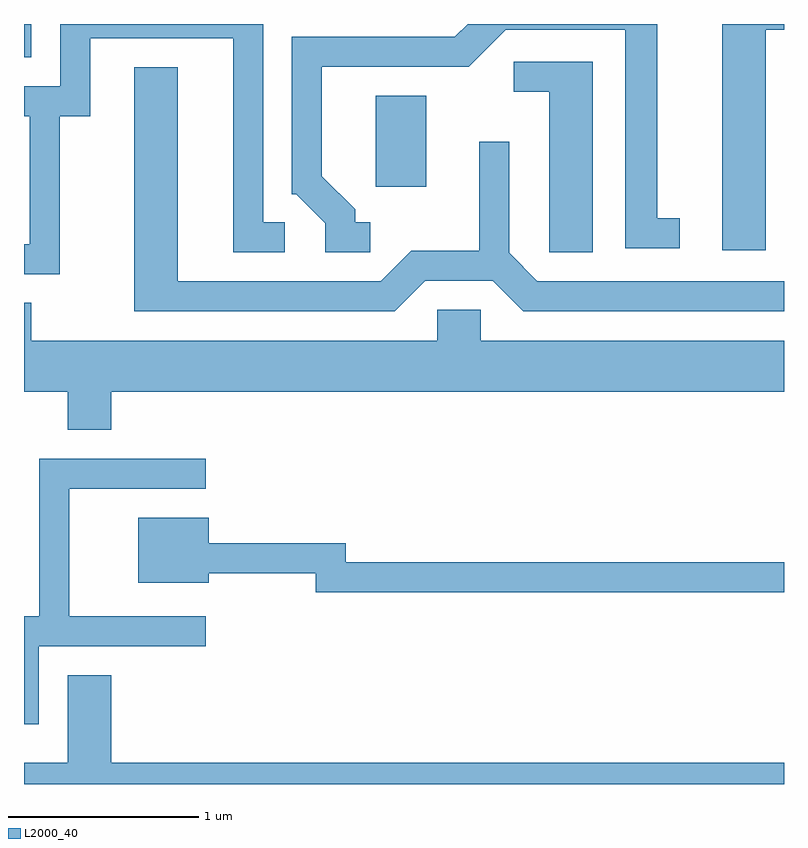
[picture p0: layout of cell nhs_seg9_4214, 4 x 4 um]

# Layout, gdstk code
import gdstk
lib = gdstk.Library(unit=1e-6, precision=1e-09)
def R(c, l, rs):  # rectangles x0, y0, x1, y1
    for r in rs: c.add(gdstk.rectangle(r[:2], r[2:], *l))
def P(c, l, *ps):  # polygons
    for p in ps: c.add(gdstk.Polygon(p, *l))
L2000_40 = (2000, 40)

nhs_seg9_4214 = lib.new_cell('nhs_seg9_4214')
R(nhs_seg9_4214, L2000_40, [(311.461,1979.576,311.729,1980.054), (309.611,1980.256,309.649,1980.432)])
P(nhs_seg9_4214, L2000_40, [(309.799,1979.946),(309.959,1979.946),(309.959,1980.356),(310.711,1980.356),(310.711,1979.231),(310.983,1979.231),(310.983,1979.389),(310.869,1979.389),(310.869,1980.432),(309.801,1980.432),(309.801,1980.104),(309.611,1980.104),(309.611,1979.946),(309.641,1979.946),(309.641,1979.274),(309.611,1979.274),(309.611,1979.116),(309.799,1979.116)],
  [(311.433,1979.389),(311.354,1979.389),(311.354,1979.457),(311.179,1979.632),(311.179,1980.206),(311.952,1980.206),(312.147,1980.401),(312.776,1980.401),(312.776,1979.251),(313.063,1979.251),(313.063,1979.409),(312.944,1979.409),(312.944,1980.432),(311.947,1980.432),(311.879,1980.364),(311.021,1980.364),(311.021,1979.536),(311.044,1979.536),(311.196,1979.384),(311.196,1979.231),(311.433,1979.231)],
  [(313.514,1980.401),(313.611,1980.401),(313.611,1980.432),(313.286,1980.432),(313.286,1979.241),(313.514,1979.241)],
  [(312.604,1980.234),(312.188,1980.234),(312.188,1980.076),(312.376,1980.076),(312.376,1979.231),(312.604,1979.231)],
  [(311.722,1979.081),(312.079,1979.081),(312.239,1978.921),(313.611,1978.921),(313.611,1979.079),(312.312,1979.079),(312.164,1979.227),(312.164,1979.813),(312.006,1979.813),(312.006,1979.239),(311.649,1979.239),(311.489,1979.079),(310.419,1979.079),(310.419,1980.204),(310.191,1980.204),(310.191,1978.921),(311.562,1978.921)],
  [(310.069,1978.496),(313.611,1978.496),(313.611,1978.764),(312.014,1978.764),(312.014,1978.929),(311.786,1978.929),(311.786,1978.764),(309.649,1978.764),(309.649,1978.964),(309.611,1978.964),(309.611,1978.496),(309.841,1978.496),(309.841,1978.296),(310.069,1978.296)],
  [(309.689,1977.156),(310.568,1977.156),(310.568,1977.314),(309.849,1977.314),(309.849,1977.986),(310.568,1977.986),(310.568,1978.144),(309.691,1978.144),(309.691,1977.314),(309.611,1977.314),(309.611,1976.746),(309.689,1976.746)],
  [(313.611,1977.599),(311.304,1977.599),(311.304,1977.699),(310.584,1977.699),(310.584,1977.834),(310.211,1977.834),(310.211,1977.491),(310.584,1977.491),(310.584,1977.541),(311.146,1977.541),(311.146,1977.441),(313.611,1977.441)],
  [(313.611,1976.544),(310.069,1976.544),(310.069,1977.004),(309.841,1977.004),(309.841,1976.544),(309.611,1976.544),(309.611,1976.432),(313.611,1976.432)])

lib.write_gds('nhs_seg9_4214.gds')
